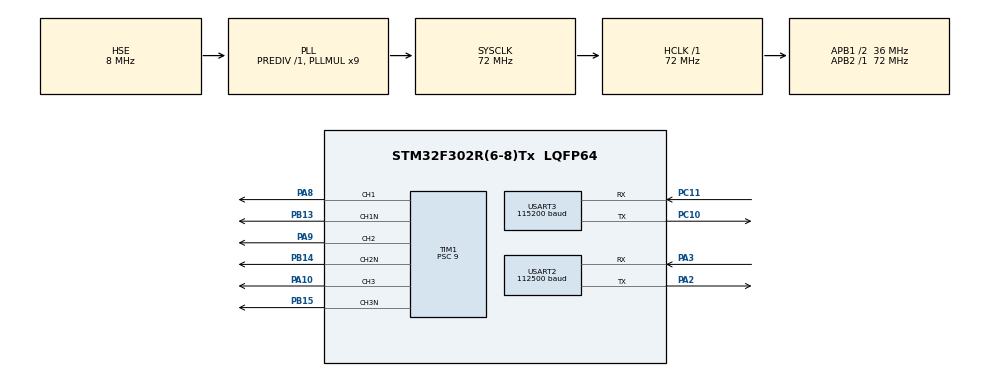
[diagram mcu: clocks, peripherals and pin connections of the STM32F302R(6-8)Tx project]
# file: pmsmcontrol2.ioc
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Mcu.Family=STM32F3
Dma.USART3_RX.1.Mode=DMA_CIRCULAR
RCC.CortexFreq_Value=72000000
PC10.GPIO_PuPd=GPIO_PULLUP
PA10.GPIO_PuPd=GPIO_PULLDOWN
PC10.Signal=USART3_TX
RCC.SYSCLKSourceVirtual=RCC_SYSCLKSOURCE_PLLCLK
PB13.Signal=TIM1_CH1N
PB15.Signal=TIM1_CH3N
ProjectManager.StackSize=0x400
NVIC.DMA1_Channel3_IRQn=true\:0\:0\:false\:false\:true\:false\:true
USART3.VirtualMode-Asynchronous=VM_ASYNC
PC11.GPIO_PuPd=GPIO_PULLUP
TIM1.Prescaler=9
Dma.USART3_RX.1.MemInc=DMA_MINC_ENABLE
USART3.BaudRate=115200
Dma.USART3_RX.1.Instance=DMA1_Channel3
Dma.USART2_RX.0.Priority=DMA_PRIORITY_LOW
Dma.USART2_RX.0.PeriphDataAlignment=DMA_PDATAALIGN_BYTE
RCC.HCLKFreq_Value=72000000
RCC.APB2TimFreq_Value=72000000
Dma.USART3_RX.1.PeriphDataAlignment=DMA_PDATAALIGN_BYTE
TIM1.AutomaticOutput=TIM_AUTOMATICOUTPUT_ENABLE
RCC.AHBFreq_Value=72000000
RCC.HSE_VALUE=8000000
USART2.VirtualMode-Asynchronous=VM_ASYNC
RCC.PLLMUL=RCC_PLL_MUL9
TIM1.Break2Polarity=TIM_BREAK2POLARITY_LOW
Dma.USART2_RX.0.MemDataAlignment=DMA_MDATAALIGN_BYTE
Dma.USART3_RX.1.Priority=DMA_PRIORITY_LOW
PB14.Mode=PWM Generation2 CH2 CH2N
TIM1.DeadTime=18
NVIC.TIM2_IRQn=true\:0\:0\:false\:false\:true\:true\:true
Dma.USART2_RX.0.Instance=DMA1_Channel6
PA8.Signal=S_TIM1_CH1
VP_TIM1_VS_ClockSourceINT.Mode=Internal
Mcu.Package=LQFP64
PB14.GPIO_PuPd=GPIO_PULLDOWN
Dma.USART2_RX.0.PeriphInc=DMA_PINC_DISABLE
PB15.GPIO_PuPd=GPIO_PULLDOWN
Dma.USART3_RX.1.Direction=DMA_PERIPH_TO_MEMORY
PA10.Signal=S_TIM1_CH3
PC11.Mode=Asynchronous
Dma.Request1=USART3_RX
RCC.APB1TimFreq_Value=72000000
PB13.Mode=PWM Generation1 CH1 CH1N
PF1-OSC_OUT.Mode=HSE-External-Oscillator
Dma.Request0=USART2_RX
PF1-OSC_OUT.Signal=RCC_OSC_OUT
PA3.Signal=USART2_RX
RCC.PLLSourceVirtual=RCC_PLLSOURCE_HSE
NVIC.DMA1_Channel6_IRQn=true\:0\:0\:false\:false\:true\:false\:true
TIM1.OffStateIDLEMode=TIM_OSSI_ENABLE
TIM1.CounterMode=TIM_COUNTERMODE_CENTERALIGNED1
PC11.Signal=USART3_RX
PC10.Mode=Asynchronous
Dma.USART2_RX.0.Direction=DMA_PERIPH_TO_MEMORY
Dma.USART3_RX.1.MemDataAlignment=DMA_MDATAALIGN_BYTE
TIM1.Channel-PWM\ Generation1\ CH1\ CH1N=TIM_CHANNEL_1
RCC.APB1CLKDivider=RCC_HCLK_DIV2
PA9.GPIO_PuPd=GPIO_PULLDOWN
USART2.BaudRate=112500
Dma.USART2_RX.0.Mode=DMA_CIRCULAR
PA3.Mode=Asynchronous
TIM1.AutoReloadPreload=TIM_AUTORELOAD_PRELOAD_ENABLE
TIM1.Channel-PWM\ Generation2\ CH2\ CH2N=TIM_CHANNEL_2
SH.S_TIM1_CH1.0=TIM1_CH1,PWM Generation1 CH1 CH1N
ProjectManager.TargetToolchain=STM32CubeIDE
PA9.Signal=S_TIM1_CH2
TIM1.Channel-PWM\ Generation3\ CH3\ CH3N=TIM_CHANNEL_3
RCC.USBFreq_Value=72000000
RCC.LSE_VALUE=32768
PF0-OSC_IN.Mode=HSE-External-Oscillator
PB14.Signal=TIM1_CH2N
board=custom
PB15.Mode=PWM Generation3 CH3 CH3N
PB13.GPIO_PuPd=GPIO_PULLDOWN
TIM1.TIM_MasterOutputTrigger=TIM_TRGO_UPDATE
RCC.APB2Freq_Value=72000000
VP_TIM2_VS_ClockSourceINT.Mode=Internal
SH.S_TIM1_CH2.0=TIM1_CH2,PWM Generation2 CH2 CH2N
TIM1.OffStateRunMode=TIM_OSSR_DISABLE
TIM1.BreakPolarity=TIM_BREAKPOLARITY_LOW
Mcu.Name=STM32F302R(6-8)Tx
Dma.USART2_RX.0.MemInc=DMA_MINC_ENABLE
PA2.Signal=USART2_TX
RCC.SYSCLKFreq_VALUE=72000000
ProjectManager.HeapSize=0x200
SH.S_TIM1_CH3.0=TIM1_CH3,PWM Generation3 CH3 CH3N
RCC.HSI_VALUE=8000000
PA8.GPIO_PuPd=GPIO_PULLDOWN
NVIC.PriorityGroup=NVIC_PRIORITYGROUP_4
PA2.Mode=Asynchronous
PF0-OSC_IN.Signal=RCC_OSC_IN
RCC.APB1Freq_Value=36000000
Dma.USART3_RX.1.PeriphInc=DMA_PINC_DISABLE

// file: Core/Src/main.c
/* USER CODE BEGIN Header */
/**
  ******************************************************************************
  * @file           : main.c
  * @brief          : Main program body
  ******************************************************************************
  * @attention
  *
  * <h2><center>&copy; Copyright (c) 2021 STMicroelectronics.
  * All rights reserved.</center></h2>
  *
  * This software component is licensed by ST under BSD 3-Clause license,
  * the "License"; You may not use this file except in compliance with the
  * License. You may obtain a copy of the License at:
  *                        opensource.org/licenses/BSD-3-Clause
  *
  ******************************************************************************
  */
/* USER CODE END Header */
#include "main.h"

/* USER CODE BEGIN Includes */
#include "stm32f3xx_hal.h"
#include "cardata.h"
#include "control.h"
#include "serial.h"
/* USER CODE END Includes */

TIM_HandleTypeDef htim1;
TIM_HandleTypeDef htim2;

UART_HandleTypeDef huart2;
UART_HandleTypeDef huart3;
DMA_HandleTypeDef hdma_usart2_rx;
DMA_HandleTypeDef hdma_usart3_rx;

/* USER CODE BEGIN PV */
static PulseMode info_pm;
static CarParam info_param;

/* USER CODE END PV */

void SystemClock_Config(void);
static void MX_GPIO_Init(void);
static void MX_DMA_Init(void);
static void MX_USART2_UART_Init(void);
static void MX_TIM1_Init(void);
static void MX_USART3_UART_Init(void);
static void MX_TIM2_Init(void);

int main(void)
{

  /* MCU Configuration--------------------------------------------------------*/

  /* Reset of all peripherals, Initializes the Flash interface and the Systick. */
  HAL_Init();

  /* Configure the system clock */
  SystemClock_Config();

  /* Initialize all configured peripherals */
  MX_GPIO_Init();
  MX_DMA_Init();
  MX_USART2_UART_Init();
  MX_TIM1_Init();
  MX_USART3_UART_Init();
  MX_TIM2_Init();
  /* USER CODE BEGIN 2 */

  Cardata_getPulsemode(-1, &info_pm);    // initialize
  Cardata_getCarparam(-1, &info_param);  // initialize

  Ctrl_init(&htim1, &info_pm, &info_param);  // initialize
  Serial_init(&huart2);

  uint8_t rxbuf[SERIAL_RXBUFSIZE];
  //uint8_t txbuf[SERIAL_TXBUFSIZE];
  for (int i=0; i<SERIAL_RXBUFSIZE; i++) rxbuf[i] = 0;
  //for (int i=0; i<SERIAL_TXBUFSIZE; i++) txbuf[i] = 0;

  /* USER CODE END 2 */

  /* Infinite loop */
  /* USER CODE BEGIN WHILE */
  while (1)
  {
	  size_t len = 0;
	  while (!Serial_isEmpty()) {
		  rxbuf[len++] = Serial_read();
	  }
	  if (len > 0) {
		  switch (rxbuf[0]) {
		  case 'c':  // Change car. Command: 'cx' (x=carid+1. 0 = no one, 1 = first one)
			  Ctrl_toggle(E_CTRL_TOGGLE_OFF);                         // turn off inverter
			  int carid = rxbuf[1] - '1';                             // get carid (if id==0, carid='0'(46) - '1'(47) = -1)
			  if (carid < 0 || carid > D_CAR_NUMOFCAR) carid = -1;
			  Cardata_getPulsemode(carid, &info_pm);                  // update car info
			  Cardata_getCarparam(carid, &info_param);
			  Ctrl_setParam(&info_pm, &info_param);                   // set car info to the controller
			  break;
		  case 'i':  // Toggle inverter. Command: 'ix' (x=0: OFF, x=1: ON)
			  if (rxbuf[1] == '1' && info_pm.carid > -1) {
				  Ctrl_toggle(E_CTRL_TOGGLE_ON);
			  } else {
				  Ctrl_toggle(E_CTRL_TOGGLE_OFF);
			  }
		  }

	  }
	  HAL_Delay(1000);

    /* USER CODE END WHILE */

  }
}

void SystemClock_Config(void)
{
  RCC_OscInitTypeDef RCC_OscInitStruct = {0};
  RCC_ClkInitTypeDef RCC_ClkInitStruct = {0};
  RCC_PeriphCLKInitTypeDef PeriphClkInit = {0};

  /** Initializes the RCC Oscillators according to the specified parameters
  * in the RCC_OscInitTypeDef structure.
  */
  RCC_OscInitStruct.OscillatorType = RCC_OSCILLATORTYPE_HSE;
  RCC_OscInitStruct.HSEState = RCC_HSE_ON;
  RCC_OscInitStruct.HSEPredivValue = RCC_HSE_PREDIV_DIV1;
  RCC_OscInitStruct.HSIState = RCC_HSI_ON;
  RCC_OscInitStruct.PLL.PLLState = RCC_PLL_ON;
  RCC_OscInitStruct.PLL.PLLSource = RCC_PLLSOURCE_HSE;
  RCC_OscInitStruct.PLL.PLLMUL = RCC_PLL_MUL9;
  if (HAL_RCC_OscConfig(&RCC_OscInitStruct) != HAL_OK)
  {
    Error_Handler();
  }
  /** Initializes the CPU, AHB and APB buses clocks
  */
  RCC_ClkInitStruct.ClockType = RCC_CLOCKTYPE_HCLK|RCC_CLOCKTYPE_SYSCLK
                              |RCC_CLOCKTYPE_PCLK1|RCC_CLOCKTYPE_PCLK2;
  RCC_ClkInitStruct.SYSCLKSource = RCC_SYSCLKSOURCE_PLLCLK;
  RCC_ClkInitStruct.AHBCLKDivider = RCC_SYSCLK_DIV1;
  RCC_ClkInitStruct.APB1CLKDivider = RCC_HCLK_DIV2;
  RCC_ClkInitStruct.APB2CLKDivider = RCC_HCLK_DIV1;

  if (HAL_RCC_ClockConfig(&RCC_ClkInitStruct, FLASH_LATENCY_2) != HAL_OK)
  {
    Error_Handler();
  }
  PeriphClkInit.PeriphClockSelection = RCC_PERIPHCLK_TIM1;
  PeriphClkInit.Tim1ClockSelection = RCC_TIM1CLK_HCLK;
  if (HAL_RCCEx_PeriphCLKConfig(&PeriphClkInit) != HAL_OK)
  {
    Error_Handler();
  }
}

static void MX_TIM1_Init(void)
{

  TIM_ClockConfigTypeDef sClockSourceConfig = {0};
  TIM_MasterConfigTypeDef sMasterConfig = {0};
  TIM_OC_InitTypeDef sConfigOC = {0};
  TIM_BreakDeadTimeConfigTypeDef sBreakDeadTimeConfig = {0};

  htim1.Instance = TIM1;
  htim1.Init.Prescaler = 9;
  htim1.Init.CounterMode = TIM_COUNTERMODE_CENTERALIGNED1;
  htim1.Init.Period = 65535;
  htim1.Init.ClockDivision = TIM_CLOCKDIVISION_DIV1;
  htim1.Init.RepetitionCounter = 0;
  htim1.Init.AutoReloadPreload = TIM_AUTORELOAD_PRELOAD_ENABLE;
  if (HAL_TIM_Base_Init(&htim1) != HAL_OK)
  {
    Error_Handler();
  }
  sClockSourceConfig.ClockSource = TIM_CLOCKSOURCE_INTERNAL;
  if (HAL_TIM_ConfigClockSource(&htim1, &sClockSourceConfig) != HAL_OK)
  {
    Error_Handler();
  }
  if (HAL_TIM_PWM_Init(&htim1) != HAL_OK)
  {
    Error_Handler();
  }
  sMasterConfig.MasterOutputTrigger = TIM_TRGO_UPDATE;
  sMasterConfig.MasterOutputTrigger2 = TIM_TRGO2_RESET;
  sMasterConfig.MasterSlaveMode = TIM_MASTERSLAVEMODE_DISABLE;
  if (HAL_TIMEx_MasterConfigSynchronization(&htim1, &sMasterConfig) != HAL_OK)
  {
    Error_Handler();
  }
  sConfigOC.OCMode = TIM_OCMODE_PWM1;
  sConfigOC.Pulse = 0;
  sConfigOC.OCPolarity = TIM_OCPOLARITY_HIGH;
  sConfigOC.OCNPolarity = TIM_OCNPOLARITY_HIGH;
  sConfigOC.OCFastMode = TIM_OCFAST_DISABLE;
  sConfigOC.OCIdleState = TIM_OCIDLESTATE_RESET;
  sConfigOC.OCNIdleState = TIM_OCNIDLESTATE_RESET;
  if (HAL_TIM_PWM_ConfigChannel(&htim1, &sConfigOC, TIM_CHANNEL_1) != HAL_OK)
  {
    Error_Handler();
  }
  if (HAL_TIM_PWM_ConfigChannel(&htim1, &sConfigOC, TIM_CHANNEL_2) != HAL_OK)
  {
    Error_Handler();
  }
  if (HAL_TIM_PWM_ConfigChannel(&htim1, &sConfigOC, TIM_CHANNEL_3) != HAL_OK)
  {
    Error_Handler();
  }
  sBreakDeadTimeConfig.OffStateRunMode = TIM_OSSR_DISABLE;
  sBreakDeadTimeConfig.OffStateIDLEMode = TIM_OSSI_ENABLE;
  sBreakDeadTimeConfig.LockLevel = TIM_LOCKLEVEL_OFF;
  sBreakDeadTimeConfig.DeadTime = 18;
  sBreakDeadTimeConfig.BreakState = TIM_BREAK_DISABLE;
  sBreakDeadTimeConfig.BreakPolarity = TIM_BREAKPOLARITY_LOW;
  sBreakDeadTimeConfig.BreakFilter = 0;
  sBreakDeadTimeConfig.Break2State = TIM_BREAK2_DISABLE;
  sBreakDeadTimeConfig.Break2Polarity = TIM_BREAK2POLARITY_LOW;
  sBreakDeadTimeConfig.Break2Filter = 0;
  sBreakDeadTimeConfig.AutomaticOutput = TIM_AUTOMATICOUTPUT_ENABLE;
  if (HAL_TIMEx_ConfigBreakDeadTime(&htim1, &sBreakDeadTimeConfig) != HAL_OK)
  {
    Error_Handler();
  }
  HAL_TIM_MspPostInit(&htim1);

}

static void MX_TIM2_Init(void)
{

  TIM_ClockConfigTypeDef sClockSourceConfig = {0};
  TIM_MasterConfigTypeDef sMasterConfig = {0};

  htim2.Instance = TIM2;
  htim2.Init.Prescaler = 0;
  htim2.Init.CounterMode = TIM_COUNTERMODE_UP;
  htim2.Init.Period = 4294967295;
  htim2.Init.ClockDivision = TIM_CLOCKDIVISION_DIV1;
  htim2.Init.AutoReloadPreload = TIM_AUTORELOAD_PRELOAD_DISABLE;
  if (HAL_TIM_Base_Init(&htim2) != HAL_OK)
  {
    Error_Handler();
  }
  sClockSourceConfig.ClockSource = TIM_CLOCKSOURCE_INTERNAL;
  if (HAL_TIM_ConfigClockSource(&htim2, &sClockSourceConfig) != HAL_OK)
  {
    Error_Handler();
  }
  sMasterConfig.MasterOutputTrigger = TIM_TRGO_RESET;
  sMasterConfig.MasterSlaveMode = TIM_MASTERSLAVEMODE_DISABLE;
  if (HAL_TIMEx_MasterConfigSynchronization(&htim2, &sMasterConfig) != HAL_OK)
  {
    Error_Handler();
  }

}

static void MX_USART2_UART_Init(void)
{

  huart2.Instance = USART2;
  huart2.Init.BaudRate = 112500;
  huart2.Init.WordLength = UART_WORDLENGTH_8B;
  huart2.Init.StopBits = UART_STOPBITS_1;
  huart2.Init.Parity = UART_PARITY_NONE;
  huart2.Init.Mode = UART_MODE_TX_RX;
  huart2.Init.HwFlowCtl = UART_HWCONTROL_NONE;
  huart2.Init.OverSampling = UART_OVERSAMPLING_16;
  huart2.Init.OneBitSampling = UART_ONE_BIT_SAMPLE_DISABLE;
  huart2.AdvancedInit.AdvFeatureInit = UART_ADVFEATURE_NO_INIT;
  if (HAL_UART_Init(&huart2) != HAL_OK)
  {
    Error_Handler();
  }

}

static void MX_USART3_UART_Init(void)
{

  huart3.Instance = USART3;
  huart3.Init.BaudRate = 115200;
  huart3.Init.WordLength = UART_WORDLENGTH_8B;
  huart3.Init.StopBits = UART_STOPBITS_1;
  huart3.Init.Parity = UART_PARITY_NONE;
  huart3.Init.Mode = UART_MODE_TX_RX;
  huart3.Init.HwFlowCtl = UART_HWCONTROL_NONE;
  huart3.Init.OverSampling = UART_OVERSAMPLING_16;
  huart3.Init.OneBitSampling = UART_ONE_BIT_SAMPLE_DISABLE;
  huart3.AdvancedInit.AdvFeatureInit = UART_ADVFEATURE_NO_INIT;
  if (HAL_UART_Init(&huart3) != HAL_OK)
  {
    Error_Handler();
  }

}

static void MX_DMA_Init(void)
{

  /* DMA controller clock enable */
  __HAL_RCC_DMA1_CLK_ENABLE();

  /* DMA interrupt init */
  /* DMA1_Channel3_IRQn interrupt configuration */
  HAL_NVIC_SetPriority(DMA1_Channel3_IRQn, 0, 0);
  HAL_NVIC_EnableIRQ(DMA1_Channel3_IRQn);
  /* DMA1_Channel6_IRQn interrupt configuration */
  HAL_NVIC_SetPriority(DMA1_Channel6_IRQn, 0, 0);
  HAL_NVIC_EnableIRQ(DMA1_Channel6_IRQn);

}

static void MX_GPIO_Init(void)
{

  /* GPIO Ports Clock Enable */
  __HAL_RCC_GPIOF_CLK_ENABLE();
  __HAL_RCC_GPIOA_CLK_ENABLE();
  __HAL_RCC_GPIOB_CLK_ENABLE();
  __HAL_RCC_GPIOC_CLK_ENABLE();

}

void Error_Handler(void)
{
  __disable_irq();
  while (1)
  {
  }
}

/************************ (C) COPYRIGHT STMicroelectronics *****END OF FILE****/
